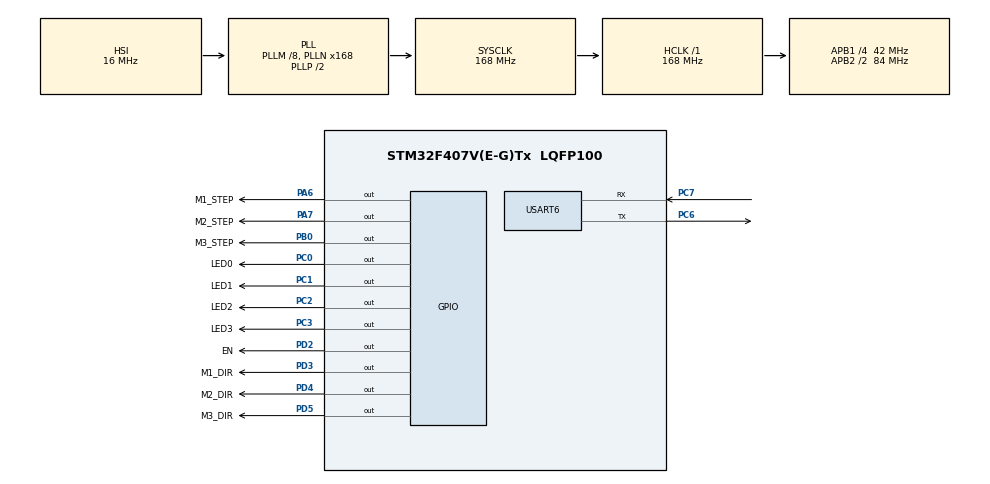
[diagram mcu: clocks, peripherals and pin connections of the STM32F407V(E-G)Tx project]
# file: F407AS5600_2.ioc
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Mcu.Family=STM32F4
Mcu.Name=STM32F407V(E-G)Tx
Mcu.Package=LQFP100
NVIC.PriorityGroup=NVIC_PRIORITYGROUP_4
NVIC.TIM6_DAC_IRQn=true\:0\:0\:false\:false\:true\:true\:true\:true
PA13.Mode=Serial_Wire
PA13.Signal=SYS_JTMS-SWDIO
PA14.Mode=Serial_Wire
PA14.Signal=SYS_JTCK-SWCLK
PA6.GPIO_Label=M1_STEP
PA6.GPIO_Speed=GPIO_SPEED_FREQ_VERY_HIGH
PA6.Signal=GPIO_Output
PA7.GPIO_Label=M2_STEP
PA7.GPIO_Speed=GPIO_SPEED_FREQ_VERY_HIGH
PA7.Signal=GPIO_Output
PB0.GPIO_Label=M3_STEP
PB0.GPIO_Speed=GPIO_SPEED_FREQ_VERY_HIGH
PB0.Signal=GPIO_Output
PC0.GPIO_Label=LED0
PC0.PinState=GPIO_PIN_SET
PC0.Signal=GPIO_Output
PC1.GPIO_Label=LED1
PC1.PinState=GPIO_PIN_SET
PC1.Signal=GPIO_Output
PC2.GPIO_Label=LED2
PC2.PinState=GPIO_PIN_SET
PC2.Signal=GPIO_Output
PC3.GPIO_Label=LED3
PC3.PinState=GPIO_PIN_SET
PC3.Signal=GPIO_Output
PC6.Mode=Asynchronous
PC6.Signal=USART6_TX
PC7.Mode=Asynchronous
PC7.Signal=USART6_RX
PD2.GPIO_Label=EN
PD2.PinState=GPIO_PIN_SET
PD2.Signal=GPIO_Output
PD3.GPIO_Label=M1_DIR
PD3.Signal=GPIO_Output
PD4.GPIO_Label=M2_DIR
PD4.Signal=GPIO_Output
PD5.GPIO_Label=M3_DIR
PD5.Signal=GPIO_Output
PH0-OSC_IN.Mode=HSE-External-Oscillator
PH0-OSC_IN.Signal=RCC_OSC_IN
PH1-OSC_OUT.Mode=HSE-External-Oscillator
PH1-OSC_OUT.Signal=RCC_OSC_OUT
ProjectManager.HeapSize=0x200
ProjectManager.StackSize=0x400
ProjectManager.TargetToolchain=CMake
RCC.48MHZClocksFreq_Value=84000000
RCC.AHBFreq_Value=168000000
RCC.APB1CLKDivider=RCC_HCLK_DIV4
RCC.APB1Freq_Value=42000000
RCC.APB1TimFreq_Value=84000000
RCC.APB2CLKDivider=RCC_HCLK_DIV2
RCC.APB2Freq_Value=84000000
RCC.APB2TimFreq_Value=168000000
RCC.CortexFreq_Value=168000000
RCC.HCLKFreq_Value=168000000
RCC.HSE_VALUE=25000000
RCC.HSI_VALUE=16000000
RCC.LSE_VALUE=32768
RCC.PLLM=8
RCC.PLLN=168
RCC.SYSCLKFreq_VALUE=168000000
RCC.SYSCLKSource=RCC_SYSCLKSOURCE_PLLCLK
RCC.VCOOutputFreq_Value=336000000
TIM6.AutoReloadPreload=TIM_AUTORELOAD_PRELOAD_ENABLE
TIM6.Period=50-1
TIM6.Prescaler=84-1
USART6.VirtualMode=VM_ASYNC
VP_TIM6_VS_ClockSourceINT.Mode=Enable_Timer
board=custom

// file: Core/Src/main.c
/* USER CODE BEGIN Header */
/**
  ******************************************************************************
  * @file           : main.c
  * @brief          : Main program body
  ******************************************************************************
  * @attention
  *
  * Copyright (c) 2026 STMicroelectronics.
  * All rights reserved.
  *
  * This software is licensed under terms that can be found in the LICENSE file
  * in the root directory of this software component.
  * If no LICENSE file comes with this software, it is provided AS-IS.
  *
  ******************************************************************************
  */
/* USER CODE END Header */
#include "main.h"
#include "bsp_stepper.h"
#include "bsp_led.h"
#include "stm32f407xx.h"
#include "tim.h"
#include "gpio.h"
#include "motor_core.h"
#include "robotGeometry.h"
#include "motion_planner.h"
#include "bsp_tmc2209.h"
#include "usart.h"

void SystemClock_Config(void);

int main(void)
{

  /* MCU Configuration--------------------------------------------------------*/

  /* Reset of all peripherals, Initializes the Flash interface and the Systick. */
   HAL_Init();

  /* Configure the system clock */
  SystemClock_Config();

  /* Initialize all configured peripherals */
  MX_GPIO_Init();
  MX_TIM6_Init();
  MX_USART6_UART_Init();
  /* USER CODE BEGIN 2 */
  BSP_LED_Init(); // 初始化LED

  BSP_Stepper_Init(); // 初始化步进电机驱动，设置默认状态

  BSP_Stepper_Enable(&Motor_M1, true);// 启用电机1
  BSP_Stepper_Enable(&Motor_M2, true);// 启用电机2
  BSP_Stepper_Enable(&Motor_M3, true);// 启用电机3

  extern UART_HandleTypeDef huart6; // 确保声明了你的串口句柄
  // 轴0 (底座)：需要最大的力，16细分
  BSP_TMC2209_ConfigNode(&huart6, 0, 16, 28, 15);

  // 轴1 (大臂)：中等力，16细分
  BSP_TMC2209_ConfigNode(&huart6, 1, 16, 28, 15);

  // 轴2 (小臂)：负载极小，但为了极致顺滑，可以给 32 细分，小电流
  BSP_TMC2209_ConfigNode(&huart6, 2, 32, 28, 15);

  Motor_Core_Init(); //初始化环形缓冲区
  Motion_Planner_Init(0.0f, 185.0f, 240.0f); // 设置初始位置为(0, 185, 240)，即机械臂的默认位置

  extern TIM_HandleTypeDef htim6;
  HAL_TIM_Base_Start_IT(&htim6);// 启动定时器6的中断，开始处理运动帧

  /* USER CODE END 2 */

  /* Infinite loop */
  while (1)
  {

    /* USER CODE BEGIN 3 */

  LedState_t my_pattern[LED_COUNT] = {LED_ON, LED_OFF, LED_ON, LED_OFF};
  BSP_LED_SetAllStates(my_pattern);

  Motion_Planner_MoveLine(100.0f, 180.0f, 240.0f, 2000);
  HAL_Delay(2500);
  Motion_Planner_MoveLine(0.0f, 180.0f, 240.0f, 2000);
  HAL_Delay(2500);

  }
  /* USER CODE END 3 */
}

void SystemClock_Config(void)
{
  RCC_OscInitTypeDef RCC_OscInitStruct = {0};
  RCC_ClkInitTypeDef RCC_ClkInitStruct = {0};

  /** Configure the main internal regulator output voltage
  */
  __HAL_RCC_PWR_CLK_ENABLE();
  __HAL_PWR_VOLTAGESCALING_CONFIG(PWR_REGULATOR_VOLTAGE_SCALE1);

  /** Initializes the RCC Oscillators according to the specified parameters
  * in the RCC_OscInitTypeDef structure.
  */
  RCC_OscInitStruct.OscillatorType = RCC_OSCILLATORTYPE_HSI;
  RCC_OscInitStruct.HSIState = RCC_HSI_ON;
  RCC_OscInitStruct.HSICalibrationValue = RCC_HSICALIBRATION_DEFAULT;
  RCC_OscInitStruct.PLL.PLLState = RCC_PLL_ON;
  RCC_OscInitStruct.PLL.PLLSource = RCC_PLLSOURCE_HSI;
  RCC_OscInitStruct.PLL.PLLM = 8;
  RCC_OscInitStruct.PLL.PLLN = 168;
  RCC_OscInitStruct.PLL.PLLP = RCC_PLLP_DIV2;
  RCC_OscInitStruct.PLL.PLLQ = 4;
  if (HAL_RCC_OscConfig(&RCC_OscInitStruct) != HAL_OK)
  {
    Error_Handler();
  }

  /** Initializes the CPU, AHB and APB buses clocks
  */
  RCC_ClkInitStruct.ClockType = RCC_CLOCKTYPE_HCLK|RCC_CLOCKTYPE_SYSCLK
                              |RCC_CLOCKTYPE_PCLK1|RCC_CLOCKTYPE_PCLK2;
  RCC_ClkInitStruct.SYSCLKSource = RCC_SYSCLKSOURCE_PLLCLK;
  RCC_ClkInitStruct.AHBCLKDivider = RCC_SYSCLK_DIV1;
  RCC_ClkInitStruct.APB1CLKDivider = RCC_HCLK_DIV4;
  RCC_ClkInitStruct.APB2CLKDivider = RCC_HCLK_DIV2;

  if (HAL_RCC_ClockConfig(&RCC_ClkInitStruct, FLASH_LATENCY_5) != HAL_OK)
  {
    Error_Handler();
  }
}

void Error_Handler(void)
{
  __disable_irq();
  while (1)
  {
  }
}
